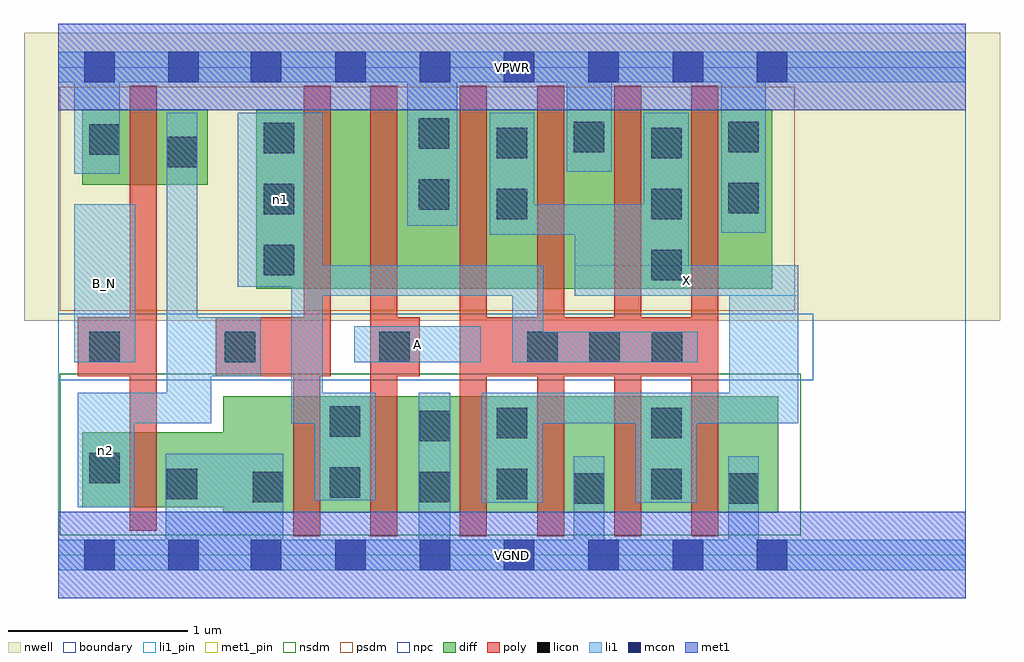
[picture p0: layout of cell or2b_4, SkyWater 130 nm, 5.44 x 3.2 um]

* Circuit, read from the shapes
.subckt or2b_4 A B_N VGND VPWR X n1 n2
XM1 VGND B_N n2 VSUBS sky130_fd_pr__nfet_01v8 w=0.42 l=0.15
XM2 n1 n2 VGND VSUBS sky130_fd_pr__nfet_01v8 w=0.65 l=0.15
XM3 VGND A n1 VSUBS sky130_fd_pr__nfet_01v8 w=0.65 l=0.15
XM4 X n1 VGND VSUBS sky130_fd_pr__nfet_01v8 w=0.65 l=0.15 m=4
XM5 n2 B_N VPWR n3 sky130_fd_pr__pfet_01v8 w=0.42 l=0.15
XM6 n4 n2 n1 n3 sky130_fd_pr__pfet_01v8 w=1 l=0.15
XM7 VPWR A n4 n3 sky130_fd_pr__pfet_01v8 w=1 l=0.15
XM8 X n1 VPWR n3 sky130_fd_pr__pfet_01v8 w=1 l=0.15 m=4
.ends

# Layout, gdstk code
import gdstk
lib = gdstk.Library(unit=1e-6, precision=1e-09)
def R(c, l, rs):  # rectangles x0, y0, x1, y1
    for r in rs: c.add(gdstk.rectangle(r[:2], r[2:], *l))
def A(c, l, x, y, w, h, nx, ny, dx, dy):  # array of equal rectangles
    R(c, l, [(x+i*dx, y+j*dy, x+i*dx+w, y+j*dy+h) for i in range(nx) for j in range(ny)])
nwell = (64, 20)
diff = (65, 20)
poly = (66, 20)
licon = (66, 44)
li1_pin = (67, 16)
li1 = (67, 20)
mcon = (67, 44)
met1_pin = (68, 16)
met1 = (68, 20)
nsdm = (93, 44)
psdm = (94, 20)
npc = (95, 20)
boundary = (235, 4)

or2b_4 = lib.new_cell('or2b_4')
R(or2b_4, nwell, [(-0.19,1.305,5.25,2.91), (0,1.305,5.06,2.91)])
R(or2b_4, diff, [(0.92,0.235,4.015,0.885), (0.135,0.265,4.015,0.685), (1.105,1.485,3.98,2.485), (0.135,2.065,0.835,2.485)])
A(or2b_4, poly, 2.24, 0.105, 0.15, 2.51, 4, 1, 0.43, 0)
R(or2b_4, poly, [(1.31,0.105,1.46,1.325), (1.74,0.105,1.89,2.615), (0.4,0.135,0.55,2.615), (0.11,0.995,0.55,1.325), (0.88,0.995,1.52,1.325), (1.37,0.995,1.52,2.615), (1.74,0.995,2.015,1.325), (2.24,0.995,3.68,1.325)])
A(or2b_4, licon, 3.305, 1.53, 0.17, 0.17, 1, 3, 0, 0.34)
A(or2b_4, licon, 1.145, 1.56, 0.17, 0.17, 1, 3, 0, 0.34)
R(or2b_4, licon, [(2.875,0.285,3.045,0.455), (3.735,0.285,3.905,0.455), (1.085,0.295,1.255,0.465), (2.015,0.295,2.185,0.465), (0.605,0.31,0.775,0.48), (2.445,0.31,2.615,0.48), (3.305,0.31,3.475,0.48), (1.515,0.32,1.685,0.49), (0.175,0.4,0.345,0.57), (2.015,0.635,2.185,0.805), (2.445,0.65,2.615,0.82), (3.305,0.65,3.475,0.82), (1.515,0.66,1.685,0.83), (0.175,1.075,0.345,1.245), (0.93,1.075,1.1,1.245), (1.79,1.075,1.96,1.245), (2.615,1.075,2.785,1.245), (2.96,1.075,3.13,1.245), (3.31,1.075,3.48,1.245), (2.445,1.87,2.615,2.04), (3.735,1.905,3.905,2.075), (2.01,1.925,2.18,2.095), (0.605,2.16,0.775,2.33), (2.445,2.21,2.615,2.38), (0.175,2.23,0.345,2.4), (2.875,2.245,3.045,2.415), (3.735,2.245,3.905,2.415), (2.01,2.265,2.18,2.435)])
R(or2b_4, li1_pin, [(0.09,1.075,0.43,1.955), (1.65,1.075,2.355,1.275), (2.88,1.445,4.125,1.615)])
R(or2b_4, li1, [(0,-0.085,5.06,0.085), (0.6,-0.085,1.255,0.565), (2.01,-0.085,2.185,0.905), (2.875,-0.085,3.045,0.55), (3.735,-0.085,3.905,0.55), (0.11,0.265,0.425,0.905), (2.36,0.29,2.7,0.905), (3.22,0.29,3.56,0.905), (1.43,0.305,1.77,0.905), (0.11,0.735,0.855,0.905), (0.605,0.735,0.775,2.465), (0.605,0.735,0.855,1.325), (1.3,0.735,1.475,2.465), (2.36,0.735,4.125,0.905), (3.74,0.735,4.125,1.615), (0.605,0.995,1.13,1.325), (0.09,1.075,0.43,1.955), (1.65,1.075,2.355,1.275), (2.53,1.075,3.565,1.245), (2.53,1.075,2.705,1.615), (1.3,1.445,2.705,1.615), (2.88,1.445,3.265,1.955), (2.88,1.445,4.125,1.615), (3.265,1.445,3.515,2.465), (1,1.495,1.475,2.465), (2.405,1.785,2.655,2.465), (2.405,1.785,3.515,1.955), (3.695,1.795,3.945,2.805), (1.945,1.835,2.225,2.805), (0.09,2.125,0.345,2.805), (2.835,2.135,3.085,2.805), (0,2.635,5.06,2.805)])
A(or2b_4, mcon, 1.075, -0.085, 0.17, 0.17, 7, 2, 0.47, 2.72)
R(or2b_4, mcon, [(0.145,-0.085,0.315,0.085), (0.615,-0.085,0.785,0.085), (0.145,2.635,0.315,2.805), (0.615,2.635,0.785,2.805)])
R(or2b_4, met1_pin, [(0,-0.24,5.06,0.24), (0,2.48,5.06,2.96)])
R(or2b_4, met1, [(0,-0.24,5.06,0.24), (0,2.48,5.06,2.96)])
R(or2b_4, nsdm, [(0.01,0.11,4.14,1.01)])
R(or2b_4, psdm, [(0.01,1.36,4.105,2.61)])
R(or2b_4, npc, [(0,0.975,4.21,1.345)])
R(or2b_4, boundary, [(0,0,5.06,2.72)])
or2b_4.add(gdstk.Label('A', (2.002,1.175), layer=67, texttype=5))
or2b_4.add(gdstk.Label('B_N', (0.26,1.515), layer=67, texttype=5))
or2b_4.add(gdstk.Label('X', (3.502,1.53), layer=67, texttype=5))
or2b_4.add(gdstk.Label('n2', (0.267,0.585), layer=67, texttype=5))
or2b_4.add(gdstk.Label('n1', (1.237,1.98), layer=67, texttype=5))
or2b_4.add(gdstk.Label('VPWR', (2.53,2.72), layer=68, texttype=5))
or2b_4.add(gdstk.Label('VGND', (2.53,0), layer=68, texttype=5))
or2b_4.add(gdstk.Label('A', (2.002,1.175), layer=67, texttype=16))
or2b_4.add(gdstk.Label('B_N', (0.26,1.515), layer=67, texttype=16))
or2b_4.add(gdstk.Label('X', (3.502,1.53), layer=67, texttype=16))
or2b_4.add(gdstk.Label('VPWR', (2.53,2.72), layer=68, texttype=16))
or2b_4.add(gdstk.Label('VGND', (2.53,0), layer=68, texttype=16))

lib.write_gds('or2b_4.gds')
